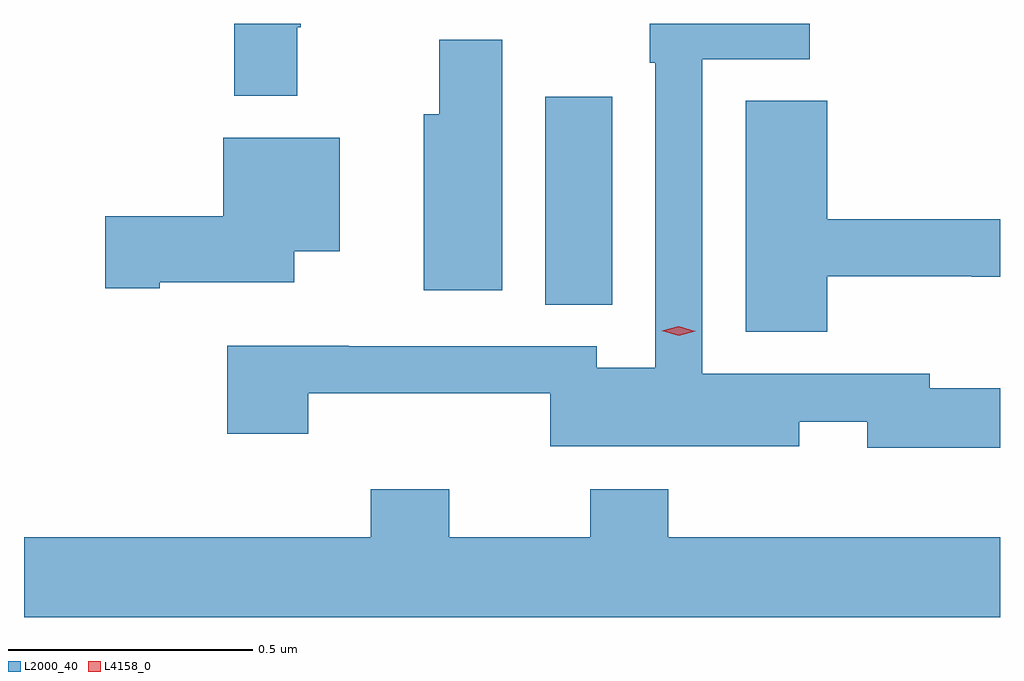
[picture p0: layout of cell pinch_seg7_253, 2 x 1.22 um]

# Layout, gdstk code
import gdstk
lib = gdstk.Library(unit=1e-6, precision=1e-09)
def R(c, l, rs):  # rectangles x0, y0, x1, y1
    for r in rs: c.add(gdstk.rectangle(r[:2], r[2:], *l))
def P(c, l, *ps):  # polygons
    for p in ps: c.add(gdstk.Polygon(p, *l))
L2000_40 = (2000, 40)
L4158_0 = (4158, 0)

pinch_seg7_253 = lib.new_cell('pinch_seg7_253')
R(pinch_seg7_253, L2000_40, [(834.902,1078.513,835.039,1078.939)])
P(pinch_seg7_253, L2000_40, [(834.394,1079.081),(834.401,1079.081),(834.401,1079.089),(834.265,1079.089),(834.265,1078.941),(834.394,1078.941)],
  [(835.834,1078.342),(835.69,1078.342),(835.69,1078.371),(835.224,1078.371),(835.224,1079.016),(835.444,1079.016),(835.444,1079.089),(835.116,1079.089),(835.116,1079.009),(835.128,1079.009),(835.128,1078.384),(835.008,1078.384),(835.008,1078.428),(834.499,1078.428),(834.499,1078.429),(834.251,1078.429),(834.251,1078.248),(834.416,1078.248),(834.416,1078.331),(834.912,1078.331),(834.912,1078.223),(835.423,1078.223),(835.423,1078.273),(835.562,1078.273),(835.562,1078.22),(835.834,1078.22)],
  [(834.814,1079.056),(834.685,1079.056),(834.685,1078.903),(834.653,1078.903),(834.653,1078.542),(834.814,1078.542)],
  [(835.48,1078.571),(835.776,1078.571),(835.776,1078.57),(835.834,1078.57),(835.834,1078.688),(835.48,1078.688),(835.48,1078.931),(835.313,1078.931),(835.313,1078.457),(835.48,1078.457)],
  [(834.112,1078.559),(834.388,1078.559),(834.388,1078.622),(834.481,1078.622),(834.481,1078.855),(834.242,1078.855),(834.242,1078.694),(834,1078.694),(834,1078.547),(834.112,1078.547)],
  [(835.834,1078.036),(835.154,1078.036),(835.154,1078.135),(834.994,1078.135),(834.994,1078.036),(834.705,1078.036),(834.705,1078.135),(834.545,1078.135),(834.545,1078.036),(833.834,1078.036),(833.834,1077.872),(835.834,1077.872)])
P(pinch_seg7_253, L4158_0, [(835.176,1078.449),(835.141,1078.46),(835.141,1078.46),(835.141,1078.46),(835.176,1078.469),(835.21,1078.458),(835.211,1078.458),(835.21,1078.458)])

lib.write_gds('pinch_seg7_253.gds')
